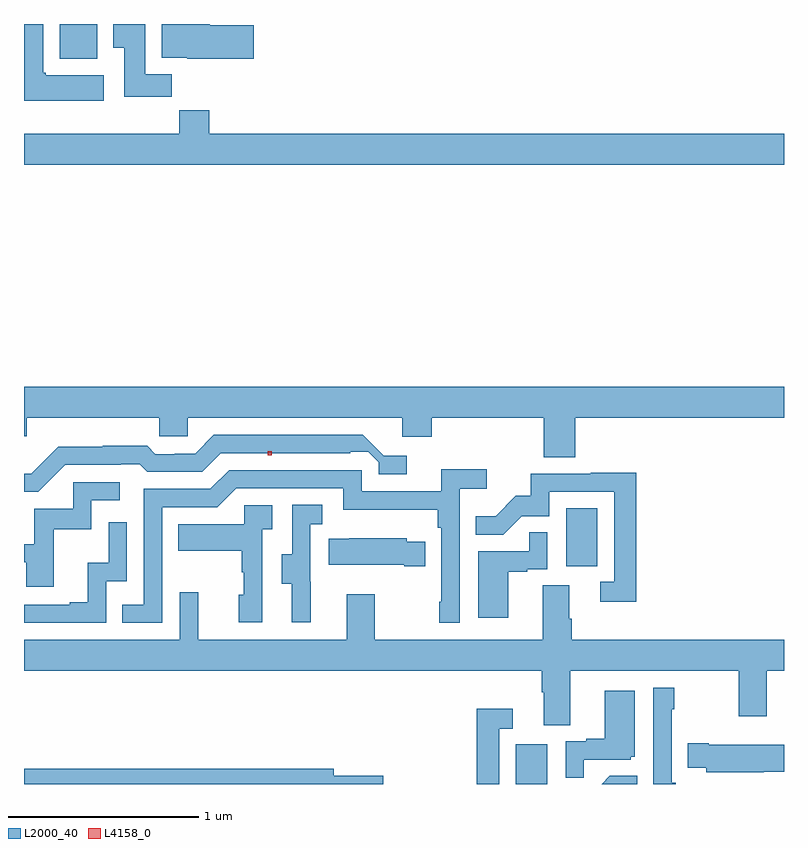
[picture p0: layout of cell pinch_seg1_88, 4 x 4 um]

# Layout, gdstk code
import gdstk
lib = gdstk.Library(unit=1e-6, precision=1e-09)
def R(c, l, rs):  # rectangles x0, y0, x1, y1
    for r in rs: c.add(gdstk.rectangle(r[:2], r[2:], *l))
def P(c, l, *ps):  # polygons
    for p in ps: c.add(gdstk.Polygon(p, *l))
L2000_40 = (2000, 40)
L4158_0 = (4158, 0)

pinch_seg1_88 = lib.new_cell('pinch_seg1_88')
R(pinch_seg1_88, L2000_40, [(1058.204,568.453,1058.368,568.663), (1058.468,569.598,1058.632,569.905), (1055.804,572.27,1056.001,572.453)])
P(pinch_seg1_88, L2000_40, [(1056.034,572.182),(1055.73,572.182),(1055.73,572.196),(1055.716,572.196),(1055.716,572.453),(1055.615,572.453),(1055.615,572.048),(1056.034,572.048)],
  [(1056.823,572.447),(1056.592,572.447),(1056.592,572.453),(1056.341,572.453),(1056.341,572.276),(1056.474,572.276),(1056.474,572.27),(1056.823,572.27)],
  [(1056.392,572.188),(1056.253,572.188),(1056.253,572.453),(1056.086,572.453),(1056.086,572.329),(1056.143,572.329),(1056.143,572.07),(1056.392,572.07)],
  [(1059.615,571.876),(1056.59,571.876),(1056.59,572),(1056.433,572),(1056.433,571.876),(1055.615,571.876),(1055.615,571.712),(1059.615,571.712)],
  [(1058.516,570.38),(1059.615,570.38),(1059.615,570.544),(1055.615,570.544),(1055.615,570.282),(1055.63,570.282),(1055.63,570.38),(1056.327,570.38),(1056.327,570.282),(1056.477,570.282),(1056.477,570.38),(1057.607,570.38),(1057.607,570.281),(1057.76,570.281),(1057.76,570.38),(1058.351,570.38),(1058.351,570.172),(1058.516,570.172)],
  [(1055.832,570.132),(1056.125,570.132),(1056.125,570.135),(1056.224,570.135),(1056.263,570.096),(1056.552,570.096),(1056.651,570.195),(1057.331,570.195),(1057.331,570.201),(1057.428,570.201),(1057.482,570.147),(1057.482,570.084),(1057.63,570.084),(1057.63,570.18),(1057.509,570.18),(1057.398,570.291),(1056.614,570.291),(1056.515,570.192),(1056.408,570.192),(1056.408,570.189),(1056.305,570.189),(1056.263,570.232),(1056.03,570.232),(1056.03,570.229),(1055.794,570.229),(1055.652,570.087),(1055.615,570.087),(1055.615,569.991),(1055.691,569.991)],
  [(1056.342,569.91),(1056.633,569.91),(1056.732,570.009),(1057.296,570.009),(1057.296,569.897),(1057.792,569.897),(1057.792,569.801),(1057.812,569.801),(1057.812,569.413),(1057.8,569.413),(1057.8,569.301),(1057.908,569.301),(1057.908,570.008),(1058.05,570.008),(1058.05,570.11),(1057.811,570.11),(1057.811,569.994),(1057.392,569.994),(1057.392,570.105),(1056.695,570.105),(1056.596,570.006),(1056.246,570.006),(1056.246,569.397),(1056.133,569.397),(1056.133,569.301),(1056.342,569.301)],
  [(1058.837,570.092),(1058.599,570.092),(1058.599,570.087),(1058.281,570.087),(1058.281,569.97),(1058.204,569.97),(1058.097,569.863),(1057.993,569.863),(1057.993,569.764),(1058.137,569.764),(1058.235,569.862),(1058.379,569.862),(1058.379,569.991),(1058.721,569.991),(1058.721,569.517),(1058.649,569.517),(1058.649,569.412),(1058.837,569.412)],
  [(1055.771,569.793),(1055.97,569.793),(1055.97,569.946),(1056.118,569.946),(1056.118,570.042),(1055.874,570.042),(1055.874,569.901),(1055.669,569.901),(1055.669,569.715),(1055.615,569.715),(1055.615,569.619),(1055.627,569.619),(1055.627,569.49),(1055.771,569.49)],
  [(1057.124,569.517),(1057.122,569.517),(1057.122,569.821),(1057.186,569.821),(1057.186,569.924),(1057.026,569.924),(1057.026,569.661),(1056.971,569.661),(1056.971,569.506),(1057.025,569.506),(1057.025,569.304),(1057.124,569.304)],
  [(1056.87,569.795),(1056.922,569.795),(1056.922,569.919),(1056.774,569.919),(1056.774,569.821),(1056.427,569.821),(1056.427,569.681),(1056.762,569.681),(1056.762,569.567),(1056.772,569.567),(1056.772,569.448),(1056.746,569.448),(1056.746,569.304),(1056.87,569.304)],
  [(1056.048,569.52),(1056.156,569.52),(1056.156,569.83),(1056.06,569.83),(1056.06,569.618),(1055.951,569.618),(1055.951,569.41),(1055.855,569.41),(1055.855,569.397),(1055.615,569.397),(1055.615,569.301),(1056.048,569.301)],
  [(1058.164,569.571),(1058.264,569.571),(1058.264,569.583),(1058.37,569.583),(1058.37,569.777),(1058.275,569.777),(1058.275,569.679),(1058.006,569.679),(1058.006,569.328),(1058.164,569.328)],
  [(1057.727,569.728),(1057.629,569.728),(1057.629,569.746),(1057.327,569.746),(1057.327,569.743),(1057.219,569.743),(1057.219,569.606),(1057.616,569.606),(1057.616,569.599),(1057.727,569.599)],
  [(1058.491,569.048),(1059.376,569.048),(1059.376,568.809),(1059.523,568.809),(1059.523,569.048),(1059.615,569.048),(1059.615,569.212),(1058.498,569.212),(1058.498,569.324),(1058.485,569.324),(1058.485,569.498),(1058.345,569.498),(1058.345,569.212),(1057.461,569.212),(1057.461,569.452),(1057.313,569.452),(1057.313,569.212),(1056.533,569.212),(1056.533,569.461),(1056.435,569.461),(1056.435,569.212),(1055.615,569.212),(1055.615,569.048),(1058.339,569.048),(1058.339,568.936),(1058.351,568.936),(1058.351,568.762),(1058.491,568.762)],
  [(1059.044,568.459),(1059.024,568.459),(1059.024,568.847),(1059.037,568.847),(1059.037,568.96),(1058.928,568.96),(1058.928,568.453),(1059.044,568.453)],
  [(1058.562,568.581),(1058.808,568.581),(1058.808,568.596),(1058.83,568.596),(1058.83,568.945),(1058.672,568.945),(1058.672,568.69),(1058.573,568.69),(1058.573,568.677),(1058.466,568.677),(1058.466,568.486),(1058.562,568.486)],
  [(1058.115,568.743),(1058.188,568.743),(1058.188,568.849),(1057.999,568.849),(1057.999,568.453),(1058.115,568.453)],
  [(1059.509,568.517),(1059.615,568.517),(1059.615,568.66),(1059.22,568.66),(1059.22,568.668),(1059.109,568.668),(1059.109,568.538),(1059.207,568.538),(1059.207,568.514),(1059.509,568.514)],
  [(1057.507,568.496),(1057.246,568.496),(1057.246,568.532),(1055.615,568.532),(1055.615,568.453),(1057.507,568.453)],
  [(1058.843,568.496),(1058.699,568.496),(1058.656,568.453),(1058.843,568.453)])
R(pinch_seg1_88, L4158_0, [(1056.899,570.183,1056.919,570.204)])

lib.write_gds('pinch_seg1_88.gds')
